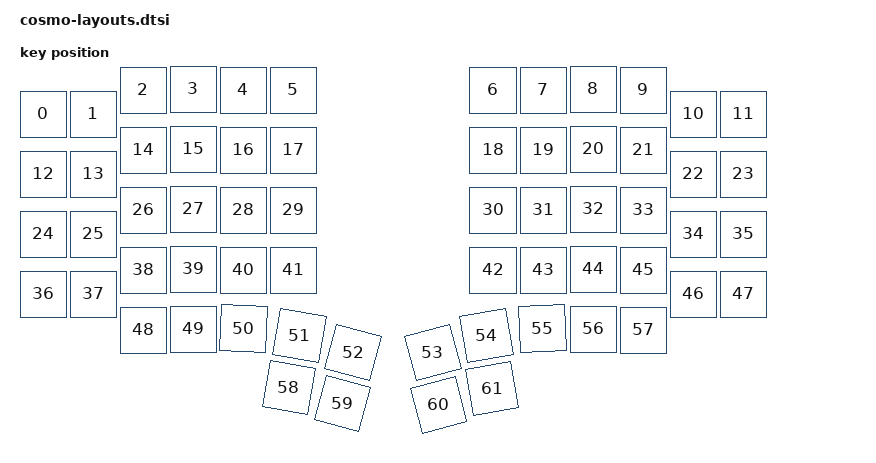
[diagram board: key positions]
#include <physical_layouts.dtsi>
#include "position_map.dtsi"

&layouts_cosmo_position_map{
    cosmo_posmap: full{
        physical-layout = <&cosmo_layout>;
        positions
            = < 0  1  2  3  4  5            6  7  8  9 10 11 >
            , <12 13 14 15 16 17           18 19 20 21 22 23>
            , <24 25 26 27 28 29           30 31 32 33 34 35>
            , <36 37 38 39 40 41           42 43 44 45 46 47>
            , <      48 49 50 51 52     53 54 55 56 57      >
            , <               58 59     60 61               >
            ;
    };
};

/ {
    cosmo_layout: cosmo_layout {
        compatible = "zmk,physical-layout";
        display-name = "Cosmo Default";

        keys  //                     w   h    x    y     rot    rx    ry
            // ====================== ROW 1 ===========================
            = <&key_physical_attrs 100 100    0   50       0     0     0>
            , <&key_physical_attrs 100 100  100   50       0     0     0>
            , <&key_physical_attrs 100 100  200    2       0     0     0>
            , <&key_physical_attrs 100 100  300    0       0     0     0>
            , <&key_physical_attrs 100 100  400    2       0     0     0>
            , <&key_physical_attrs 100 100  500    2       0     0     0>
           
            , <&key_physical_attrs 100 100  900    2       0     0     0>
            , <&key_physical_attrs 100 100 1000    2       0     0     0>
            , <&key_physical_attrs 100 100 1100    0       0     0     0>
            , <&key_physical_attrs 100 100 1200    2       0     0     0>
            , <&key_physical_attrs 100 100 1300   50       0     0     0>
            , <&key_physical_attrs 100 100 1400   50       0     0     0>
           
            // ====================== ROW 2 ===========================
            , <&key_physical_attrs 100 100    0  170       0     0     0>
            , <&key_physical_attrs 100 100  100  170       0     0     0>
            , <&key_physical_attrs 100 100  200  122       0     0     0>
            , <&key_physical_attrs 100 100  300  120       0     0     0>
            , <&key_physical_attrs 100 100  400  122       0     0     0>
            , <&key_physical_attrs 100 100  500  122       0     0     0>
           
            , <&key_physical_attrs 100 100  900  122       0     0     0>
            , <&key_physical_attrs 100 100 1000  122       0     0     0>
            , <&key_physical_attrs 100 100 1100  120       0     0     0>
            , <&key_physical_attrs 100 100 1200  122       0     0     0>
            , <&key_physical_attrs 100 100 1300  170       0     0     0>
            , <&key_physical_attrs 100 100 1400  170       0     0     0>
           
            // ====================== ROW 3 ===========================
            , <&key_physical_attrs 100 100    0  290       0     0     0>
            , <&key_physical_attrs 100 100  100  290       0     0     0>
            , <&key_physical_attrs 100 100  200  242       0     0     0>
            , <&key_physical_attrs 100 100  300  240       0     0     0>
            , <&key_physical_attrs 100 100  400  242       0     0     0>
            , <&key_physical_attrs 100 100  500  242       0     0     0>
           
            , <&key_physical_attrs 100 100  900  242       0     0     0>
            , <&key_physical_attrs 100 100 1000  242       0     0     0>
            , <&key_physical_attrs 100 100 1100  240       0     0     0>
            , <&key_physical_attrs 100 100 1200  242       0     0     0>
            , <&key_physical_attrs 100 100 1300  290       0     0     0>
            , <&key_physical_attrs 100 100 1400  290       0     0     0>
           
            // ====================== ROW 4 ===========================
            , <&key_physical_attrs 100 100    0  410       0     0     0>
            , <&key_physical_attrs 100 100  100  410       0     0     0>
            , <&key_physical_attrs 100 100  200  362       0     0     0>
            , <&key_physical_attrs 100 100  300  360       0     0     0>
            , <&key_physical_attrs 100 100  400  362       0     0     0>
            , <&key_physical_attrs 100 100  500  362       0     0     0>
           
            , <&key_physical_attrs 100 100  900  362       0     0     0>
            , <&key_physical_attrs 100 100 1000  362       0     0     0>
            , <&key_physical_attrs 100 100 1100  360       0     0     0>
            , <&key_physical_attrs 100 100 1200  362       0     0     0>
            , <&key_physical_attrs 100 100 1300  410       0     0     0>
            , <&key_physical_attrs 100 100 1400  410       0     0     0>
           
            // ====================== ROW 5 ===========================
            , <&key_physical_attrs 100 100  200  482       0     0     0>
            , <&key_physical_attrs 100 100  300  480       0     0     0>
            , <&key_physical_attrs 100 100  400  482     250   500   555>
            , <&key_physical_attrs 100 100  510  482    1000   500   555>
            , <&key_physical_attrs 100 100  620  482    1500   500   555>
           
            , <&key_physical_attrs 100 100  780  482 (-1500)  1000   555>
            , <&key_physical_attrs 100 100  890  482 (-1000)  1000   555>
            , <&key_physical_attrs 100 100 1000  482  (-250)  1000   555>
            , <&key_physical_attrs 100 100 1100  480       0     0     0>
            , <&key_physical_attrs 100 100 1200  482       0     0     0>
           
            // ====================== ROW 6 ===========================
            , <&key_physical_attrs 100 100  490  590    1000   500   655>
            , <&key_physical_attrs 100 100  600  590    1500   500   655>
            
            , <&key_physical_attrs 100 100  790  590 (-1500)  1000   655>
            , <&key_physical_attrs 100 100  900  590 (-1000)  1000   655>
            ;
    };
};



